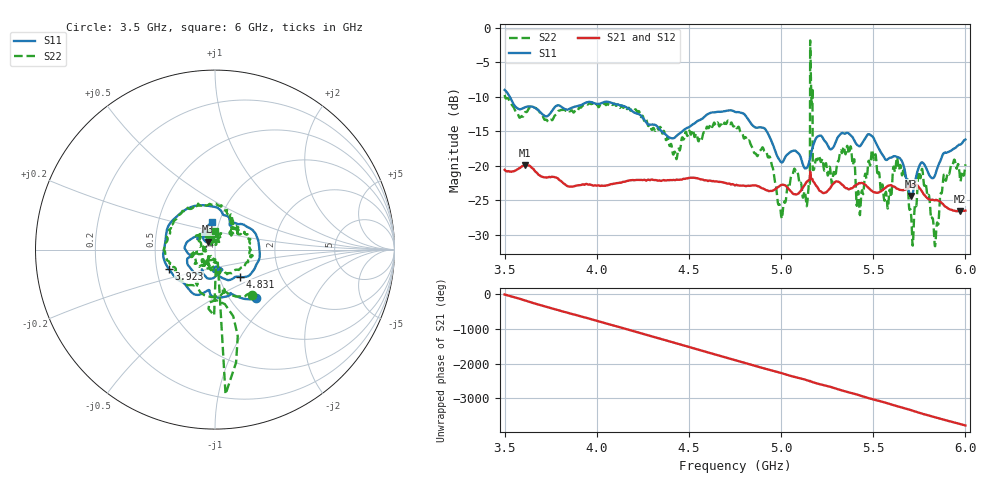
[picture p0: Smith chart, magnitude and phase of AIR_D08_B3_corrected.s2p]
! Created with skrf 1.9.0 (http://scikit-rf.org).
# Hz S RI R 50.0
!freq ReS11 ImS11 ReS21 ImS21 ReS12 ImS12 ReS22 ImS22
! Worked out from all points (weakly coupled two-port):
!   1601 points, 3.5 GHz to 6 GHz, reference 50 ohm
!   highest |S21| = -19.86 dB at 3.612 GHz (marker M1); lowest = -26.6 dB at 5.97 GHz (marker M2)
!   lowest |S11| = -24.4 dB at 5.705 GHz (marker M3), VSWR 1.13, Z = 45.8 + j4.03 ohm
!   |S11| at or under -10 dB: 3.528 GHz to end of sweep
!   |S22| runs from -31.6 to -1.8 dB; largest |S21 - S12| = 0.0014
!   S11 on the Smith chart (normalised r, x): 3.5 GHz: 1.31, -0.81; 3.923 GHz: 0.58, -0.13; 4.831 GHz: 1.26, -0.40; 6 GHz: 0.93, +0.29
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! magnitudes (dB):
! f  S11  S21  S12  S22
! 3.5 GHz  -9.0  -20.6  -20.6  -9.7
! 3.612 GHz  -11.5  -19.9  -19.9  -12.2
! 3.917 GHz  -11.2  -22.8  -22.7  -11.5
! 3.923 GHz  -11.1  -22.7  -22.7  -11.2
! 4.334 GHz  -14.5  -22.1  -22.1  -14.8
! 4.75 GHz  -12.2  -22.8  -22.8  -14.1
! 4.831 GHz  -13.7  -22.9  -22.9  -16.6
! 5.003 GHz  -19.5  -22.8  -22.8  -27.7
! 5.144 GHz  -20.1  -22.2  -22.2  -24.9
! 5.167 GHz  -17.7  -21.9  -21.9  -10.6
! 5.184 GHz  -16.3  -22.6  -22.6  -19.6
! 5.369 GHz  -15.4  -23.4  -23.3  -18.3
! 5.42 GHz  -17.1  -22.6  -22.6  -23.8
! 5.502 GHz  -16.0  -23.8  -23.8  -18.9
! 5.584 GHz  -18.9  -22.9  -22.9  -24.6
! 5.638 GHz  -18.8  -23.4  -23.4  -20.4
! 5.705 GHz  -24.4  -22.9  -22.9  -26.9
! 5.756 GHz  -19.7  -23.4  -23.4  -21.8
! 5.841 GHz  -20.9  -24.9  -24.9  -29.8
! 5.891 GHz  -18.1  -25.9  -25.9  -22.0
! 5.97 GHz  -16.9  -26.6  -26.6  -21.8
! 6 GHz  -16.2  -26.5  -26.5  -19.8
